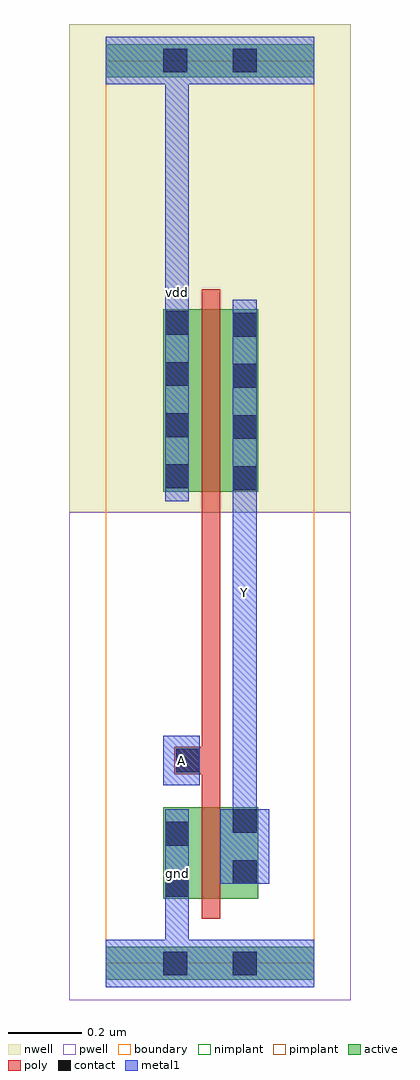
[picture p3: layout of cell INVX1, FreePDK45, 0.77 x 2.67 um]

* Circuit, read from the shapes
.subckt INVX1 A Y gnd vdd
M1 Y A gnd gnd nfet w=0.25u l=0.05u
M2 Y A vdd vdd pfet w=0.5u l=0.05u
.ends

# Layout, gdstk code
import gdstk
lib = gdstk.Library(unit=1e-6, precision=5e-10)
def R(c, l, rs):  # rectangles x0, y0, x1, y1
    for r in rs: c.add(gdstk.rectangle(r[:2], r[2:], *l))
def A(c, l, x, y, w, h, nx, ny, dx, dy):  # array of equal rectangles
    R(c, l, [(x+i*dx, y+j*dy, x+i*dx+w, y+j*dy+h) for i in range(nx) for j in range(ny)])
def P(c, l, *ps):  # polygons
    for p in ps: c.add(gdstk.Polygon(p, *l))
active = (1, 0)
pwell = (2, 0)
nwell = (3, 0)
nimplant = (4, 0)
pimplant = (5, 0)
poly = (9, 0)
contact = (10, 0)
metal1 = (11, 0)
boundary = (235, 0)

invx1 = lib.new_cell('INVX1')
R(invx1, active, [(0,-0.045,0.57,0.045), (0.1575,0.1775,0.2625,0.4275), (0.2625,0.1775,0.3125,0.4275), (0.3125,0.1775,0.4175,0.4275), (0.1575,1.29,0.2625,1.79), (0.2625,1.29,0.3125,1.79), (0.3125,1.29,0.4175,1.79), (0,2.425,0.57,2.515)])
R(invx1, pwell, [(-0.1,-0.1,0.67,1.235)])
R(invx1, nwell, [(-0.1,1.235,0.67,2.57)])
R(invx1, nimplant, [(0.1575,0.1775,0.2625,0.4275), (0.2625,0.1775,0.3125,0.4275), (0.3125,0.1775,0.4175,0.4275), (0,2.425,0.57,2.515)])
R(invx1, pimplant, [(0,-0.045,0.57,0.045), (0.1575,1.29,0.2625,1.79), (0.2625,1.29,0.3125,1.79), (0.3125,1.29,0.4175,1.79)])
R(invx1, poly, [(0.2625,0.1225,0.3125,0.1775), (0.2625,0.1775,0.3125,0.4275), (0.2625,1.29,0.3125,1.79), (0.2625,1.79,0.3125,1.845)])
P(invx1, poly, [(0.2625,0.5175),(0.1875,0.5175),(0.1875,0.5925),(0.2625,0.5925),(0.2625,1.29),(0.3125,1.29),(0.3125,0.4275),(0.2625,0.4275)])
A(invx1, contact, 0.3475, 1.295, 0.065, 0.065, 1, 4, 0, 0.14)
A(invx1, contact, 0.1625, 1.3, 0.065, 0.065, 1, 4, 0, 0.14)
R(invx1, contact, [(0.1575,-0.0325,0.2225,0.0325), (0.3475,-0.0325,0.4125,0.0325), (0.1625,0.1825,0.2275,0.2475), (0.3475,0.2175,0.4125,0.2825), (0.1625,0.3225,0.2275,0.3875), (0.3475,0.3575,0.4125,0.4225), (0.1925,0.5225,0.2575,0.5875), (0.1575,2.4375,0.2225,2.5025), (0.3475,2.4375,0.4125,2.5025)])
R(invx1, metal1, [(0.1575,0.4875,0.2575,0.6225)])
P(invx1, metal1, [(0.3475,0.4225),(0.3475,1.815),(0.4125,1.815),(0.4125,0.4225),(0.4475,0.4225),(0.4475,0.2175),(0.3125,0.2175),(0.3125,0.4225)],
  [(0,-0.065),(0,0.065),(0.1625,0.065),(0.1625,0.4225),(0.2275,0.4225),(0.2275,0.065),(0.57,0.065),(0.57,-0.065)],
  [(0,2.405),(0,2.535),(0.57,2.535),(0.57,2.405),(0.2275,2.405),(0.2275,1.265),(0.1625,1.265),(0.1625,2.405)])
R(invx1, boundary, [(0,0,0.57,2.47)])
invx1.add(gdstk.Label('Y', (0.38,1.015), layer=11, texttype=237))
invx1.add(gdstk.Label('A', (0.2075,0.555), layer=11, texttype=237))
invx1.add(gdstk.Label('gnd', (0.195,0.245), layer=11, texttype=237))
invx1.add(gdstk.Label('vdd', (0.195,1.835), layer=11, texttype=237))

lib.write_gds('INVX1.gds')
